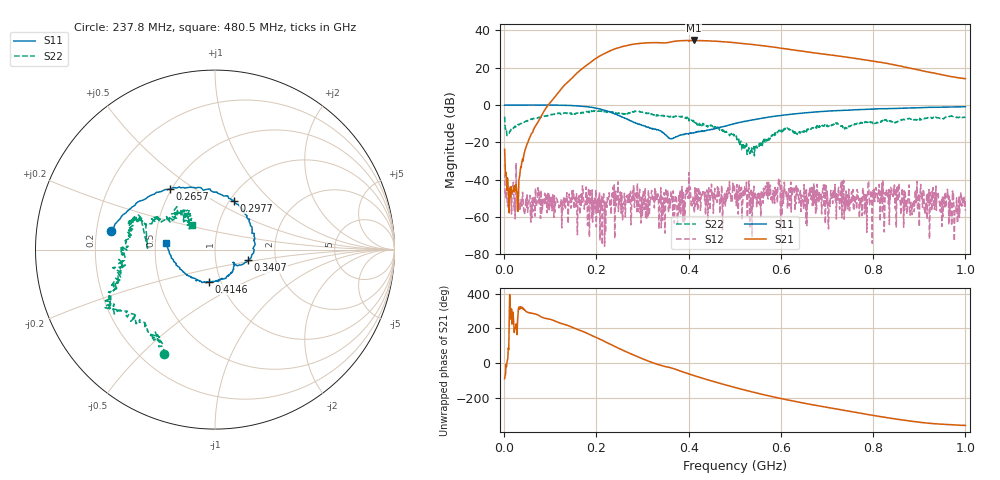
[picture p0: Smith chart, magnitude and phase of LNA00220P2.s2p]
! Created with skrf 1.9.0 (http://scikit-rf.org).
# Hz S RI R 50.0
!freq ReS11 ImS11 ReS21 ImS21 ReS12 ImS12 ReS22 ImS22
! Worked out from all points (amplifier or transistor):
!   1001 points, 1 MHz to 1 GHz, reference 50 ohm
!   highest |S21| = 34.6 dB at 410.6 MHz (marker M1)
!   |S21| within 3 dB of that: 261.7 MHz to 566 MHz (304.2 MHz wide, 73.5 % of centre) (the widest 1 of 2)
!   unconditionally stable (mu >= 1): start of sweep to 104.5 MHz; 289.2 MHz to 400.5 MHz; 400.6 MHz to end of sweep (the widest 3 of 27)
!   at 166.8 MHz: K = 2.28, MAG = 30.4 dB, |S12| = -54.6 dB
!   at 500.5 MHz: K = 3.40, MAG = 34.0 dB, |S12| = -51.1 dB
!   at 1 GHz: K = 10.47, MAG = 22.2 dB, |S12| = -56.7 dB
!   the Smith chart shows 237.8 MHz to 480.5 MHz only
!   S11 on the Smith chart (normalised r, x): 237.8 MHz: 0.26, +0.08; 265.7 MHz: 0.49, +0.40; 297.7 MHz: 1.05, +0.62; 340.7 MHz: 1.44, -0.18; 414.6 MHz: 0.88, -0.32; 480.5 MHz: 0.57, +0.05
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1000000  0.9844 0.000124  -0.000768 -0.0645  -0.026 0.00311  0.3144 0.3684
1.08892e8  0.5091 -0.851  -0.7212 -1.409  0.00368 0.00018  0.4163 -0.3689
1.67833e8  -0.2564 -0.8904  -9.142 -0.707  0.00409 0.000676  0.0573 -0.6223
2.08792e8  -0.6752 -0.3755  -14.91 14.82  -0.00202 -0.00224  -0.1799 -0.6552
2.37763e8  -0.5804 0.1051  -4.205 30.94  0.00146 -0.00145  -0.2823 -0.5842
2.65735e8  -0.2498 0.3379  17.71 34.69  -0.000786 -0.0034  -0.47 -0.3992
2.97703e8  0.1058 0.2726  40.31 20  0.000699 0.00327  -0.5807 -0.2755
3.17683e8  0.2069 0.116  46.58 4.552  0.00209 0.00201  -0.5243 -0.1781
3.34666e8  0.2125 -0.0212  46.08 -8.395  -0.000526 0.00227  -0.5198 -0.0581
3.4066e8  0.1854 -0.06  44.81 -12.18  -0.00032 0.000392  -0.5118 -0.0166
3.72628e8  0.1061 -0.0912  41.01 -31.41  0.00207 0.0026  -0.4834 0.1479
4.1059e8  -0.00996 -0.1767  16.59 -51.06  -0.00244 5.71e-05  -0.3394 0.1785
4.14586e8  -0.0358 -0.1781  13.57 -51.65  0.00191 0.000369  -0.2985 0.1571
4.45555e8  -0.1776 -0.1249  -9.416 -51.18  0.000911 0.00178  -0.1711 0.2122
4.8052e8  -0.2716 0.0386  -29.51 -39.49  0.00361 0.000422  -0.1265 0.1364
5.005e8  -0.2804 0.1492  -36.97 -29.12  -0.00199 0.00195  -0.1011 0.1093
5.36464e8  -0.2029 0.3383  -40.74 -9.988  0.00407 0.00111  -0.059 0.0399
5.84416e8  0.00784 0.4957  -34.28 9.808  0.00249 -0.00137  -0.135 -0.0538
6.67333e8  0.4073 0.4905  -12.5 21.96  0.00128 -0.0033  -0.2415 -0.0323
7.55245e8  0.6883 0.2631  3.618 17.77  0.000851 -0.00275  -0.2746 0.0448
8.34166e8  0.7984 0.00805  9.266 8.72  -0.00532 -0.00117  -0.3908 0.0095
1e9  0.7201 -0.5339  5.075 -0.0022  -0.00144 -0.000265  -0.3055 0.3387
